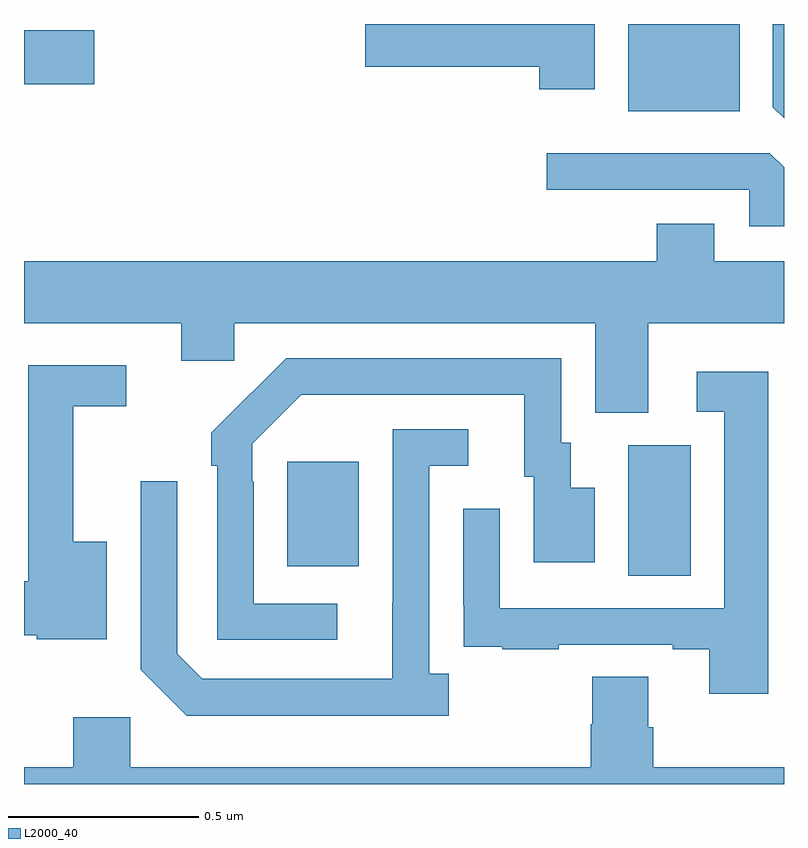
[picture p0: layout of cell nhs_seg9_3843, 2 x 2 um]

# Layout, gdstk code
import gdstk
lib = gdstk.Library(unit=1e-6, precision=1e-09)
def R(c, l, rs):  # rectangles x0, y0, x1, y1
    for r in rs: c.add(gdstk.rectangle(r[:2], r[2:], *l))
def P(c, l, *ps):  # polygons
    for p in ps: c.add(gdstk.Polygon(p, *l))
L2000_40 = (2000, 40)

nhs_seg9_3843 = lib.new_cell('nhs_seg9_3843')
R(nhs_seg9_3843, L2000_40, [(159.59,1237.048,159.754,1237.392), (158.693,1237.073,158.881,1237.348), (159.59,1238.27,159.883,1238.5), (158,1238.341,158.185,1238.483)])
P(nhs_seg9_3843, L2000_40, [(159.502,1238.5),(158.898,1238.5),(158.898,1238.387),(159.356,1238.387),(159.356,1238.328),(159.502,1238.328)],
  [(160,1238.5),(159.971,1238.5),(159.971,1238.281),(160,1238.252)],
  [(160,1238.123),(159.963,1238.16),(159.375,1238.16),(159.375,1238.064),(159.909,1238.064),(159.909,1237.968),(160,1237.968)],
  [(159.643,1237.712),(160,1237.712),(160,1237.876),(159.817,1237.876),(159.817,1237.975),(159.665,1237.975),(159.665,1237.876),(158,1237.876),(158,1237.712),(158.414,1237.712),(158.414,1237.614),(158.553,1237.614),(158.553,1237.712),(159.503,1237.712),(159.503,1237.477),(159.643,1237.477)],
  [(158.824,1236.975),(158.604,1236.975),(158.604,1237.295),(158.601,1237.295),(158.601,1237.395),(158.73,1237.524),(159.317,1237.524),(159.317,1237.308),(159.341,1237.308),(159.341,1237.083),(159.502,1237.083),(159.502,1237.279),(159.439,1237.279),(159.439,1237.398),(159.414,1237.398),(159.414,1237.62),(158.69,1237.62),(158.599,1237.529),(158.598,1237.53),(158.493,1237.425),(158.493,1237.337),(158.508,1237.337),(158.508,1236.879),(158.824,1236.879)],
  [(158.218,1237.138),(158.129,1237.138),(158.129,1237.494),(158.269,1237.494),(158.269,1237.602),(158.011,1237.602),(158.011,1237.034),(158,1237.034),(158,1236.892),(158.034,1236.892),(158.034,1236.881),(158.218,1236.881)],
  [(159.959,1237.585),(159.771,1237.585),(159.771,1237.479),(159.843,1237.479),(159.843,1236.963),(159.252,1236.963),(159.252,1237.225),(159.156,1237.225),(159.156,1236.97),(159.157,1236.97),(159.157,1236.861),(159.259,1236.861),(159.259,1236.855),(159.407,1236.855),(159.407,1236.867),(159.707,1236.867),(159.707,1236.855),(159.803,1236.855),(159.803,1236.738),(159.959,1236.738)],
  [(159.118,1236.79),(159.066,1236.79),(159.066,1237.338),(159.169,1237.338),(159.169,1237.434),(158.97,1237.434),(158.97,1236.977),(158.969,1236.977),(158.969,1236.777),(158.469,1236.777),(158.403,1236.843),(158.403,1237.297),(158.307,1237.297),(158.307,1236.801),(158.428,1236.68),(159.118,1236.68)],
  [(160,1236.544),(159.656,1236.544),(159.656,1236.65),(159.643,1236.65),(159.643,1236.782),(159.496,1236.782),(159.496,1236.657),(159.491,1236.657),(159.491,1236.544),(158.28,1236.544),(158.28,1236.676),(158.129,1236.676),(158.129,1236.544),(158,1236.544),(158,1236.5),(160,1236.5)])

lib.write_gds('nhs_seg9_3843.gds')
